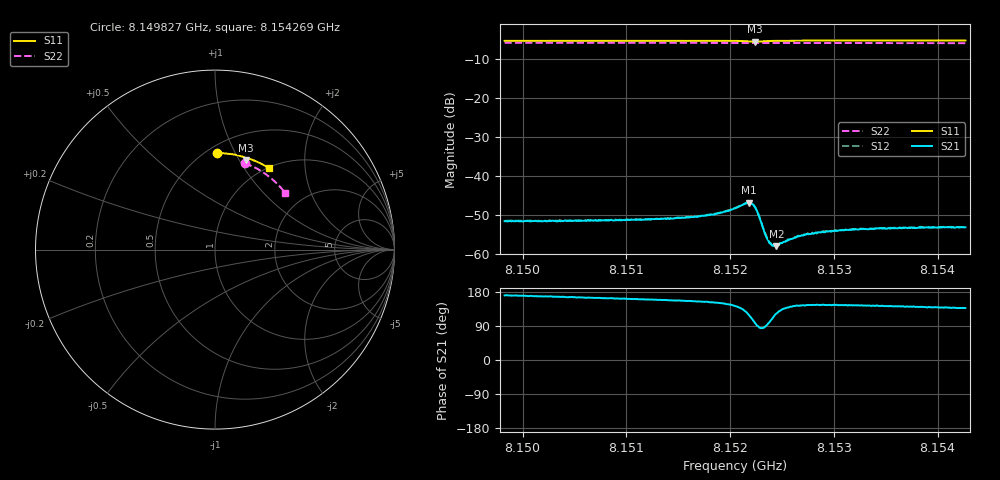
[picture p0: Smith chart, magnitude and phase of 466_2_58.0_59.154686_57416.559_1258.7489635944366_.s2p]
#  HZ  S  RI  R  50.00
! Rohde & Schwarz Vector Network Analyzer
! Rohde-Schwarz,ZNB20-2Port,1311601062101988,3.16
! Created: UTC 3/21/2024, 1:11:10 AM
! freq[Hz]  re:S11  im:S11  re:S21  im:S21  re:S12  im:S12  re:S22  im:S22
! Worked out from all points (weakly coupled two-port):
!   401 points, 8.149827 GHz to 8.154269 GHz, reference 50 ohm
!   highest |S21| = -46.80 dB at 8.152181 GHz (marker M1); lowest = -57.9 dB at 8.152448 GHz (marker M2)
!   lowest |S11| = -5.6 dB at 8.152237 GHz (marker M3), VSWR 3.22, Z = 38.7 + j53.2 ohm
!   |S11| at or under -10 dB: nowhere
!   |S22| runs from -6.0 to -5.9 dB; largest |S21 - S12| = 0.00011
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8.149827e9  0.0118 0.5378  -0.0026 0.000436  -0.0026 0.000468  0.1665 0.4818
8.1505709e9  0.0636 0.5354  -0.00258 0.000685  -0.00258 0.000719  0.2105 0.4632
8.1513149e9  0.1153 0.5279  -0.00264 0.00101  -0.0026 0.00106  0.2524 0.4405
8.1517369e9  0.145 0.5209  -0.00278 0.00136  -0.00279 0.00138  0.2749 0.4259
8.1519034e9  0.157 0.5169  -0.00292 0.00165  -0.00292 0.00173  0.2837 0.4197
8.1520478e9  0.1681 0.5115  -0.00306 0.00234  -0.00306 0.00241  0.2912 0.4143
8.1521366e9  0.174 0.5051  -0.00283 0.00332  -0.00279 0.00336  0.2955 0.4107
8.152181e9  0.1747 0.5004  -0.00223 0.00399  -0.00218 0.00399  0.2976 0.4089
8.1522143e9  0.1729 0.4979  -0.0013 0.00416  -0.00127 0.00425  0.2993 0.4076
8.1522365e9  0.171 0.4976  -0.000639 0.004  -0.000604 0.00404  0.3002 0.4068
8.1522699e9  0.169 0.4995  5.01e-05 0.00329  0.000144 0.00332  0.3018 0.4057
8.1523365e9  0.1718 0.5051  8.4e-05 0.00181  7.35e-05 0.00187  0.3051 0.4034
8.1523587e9  0.1739 0.5062  -8.64e-05 0.00156  -4.66e-05 0.00159  0.3062 0.4025
8.1523809e9  0.176 0.5068  -0.000244 0.00135  -0.000228 0.00139  0.3073 0.4018
8.1524031e9  0.1782 0.5072  -0.000393 0.00123  -0.000394 0.00123  0.3084 0.4008
8.1524253e9  0.1802 0.5072  -0.00056 0.00115  -0.000546 0.00114  0.3096 0.4
8.1524475e9  0.1822 0.5071  -0.000686 0.00107  -0.000707 0.00111  0.3107 0.3991
8.1526363e9  0.1973 0.504  -0.00132 0.000972  -0.00131 0.00101  0.3199 0.3913
8.1527917e9  0.2085 0.5003  -0.00151 0.00106  -0.00152 0.0011  0.3275 0.3849
8.153036e9  0.2248 0.4939  -0.00162 0.00115  -0.00165 0.00119  0.3387 0.3743
8.1535357e9  0.2567 0.4791  -0.00167 0.00132  -0.00167 0.00133  0.3609 0.3519
8.1542686e9  0.3009 0.4541  -0.00161 0.0015  -0.00159 0.00155  0.3905 0.3168
